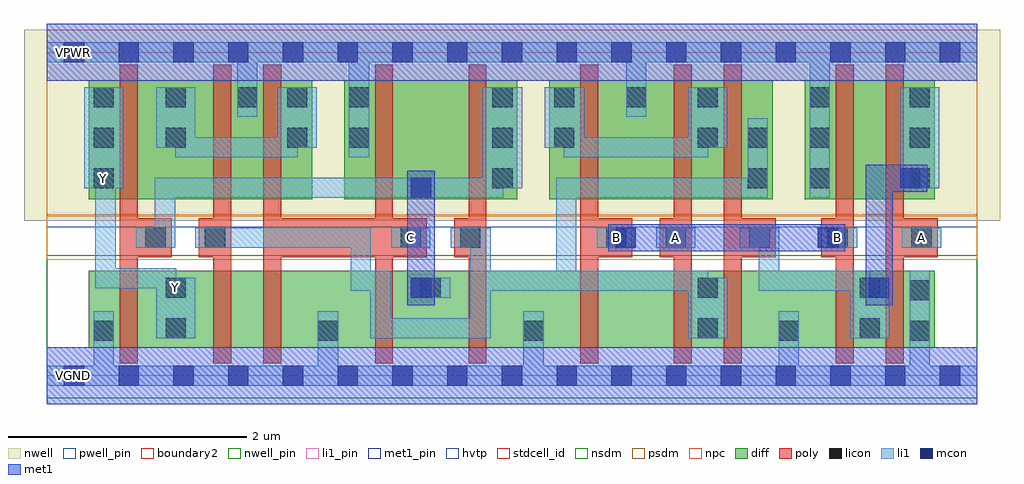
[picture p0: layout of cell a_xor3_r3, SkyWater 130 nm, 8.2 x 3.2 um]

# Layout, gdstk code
import gdstk
lib = gdstk.Library(unit=1e-6, precision=1e-09)
def R(c, l, rs):  # rectangles x0, y0, x1, y1
    for r in rs: c.add(gdstk.rectangle(r[:2], r[2:], *l))
def A(c, l, x, y, w, h, nx, ny, dx, dy):  # array of equal rectangles
    R(c, l, [(x+i*dx, y+j*dy, x+i*dx+w, y+j*dy+h) for i in range(nx) for j in range(ny)])
nwell_pin = (64, 16)
nwell = (64, 20)
diff = (65, 20)
poly = (66, 20)
licon = (66, 44)
li1_pin = (67, 16)
li1 = (67, 20)
mcon = (67, 44)
met1_pin = (68, 16)
met1 = (68, 20)
hvtp = (78, 44)
stdcell_id = (81, 4)
nsdm = (93, 44)
psdm = (94, 20)
npc = (95, 20)
pwell_pin = (122, 16)
boundary2 = (236, 0)

a_xor3_r3 = lib.new_cell('a_xor3_r3')
R(a_xor3_r3, nwell_pin, [(0.145,2.635,0.315,2.805)])
R(a_xor3_r3, nwell, [(-0.19,1.305,8.01,2.91)])
R(a_xor3_r3, diff, [(0.355,0.235,1.08,0.885), (1.08,0.235,1.685,0.885), (1.685,0.235,2.365,0.885), (2.365,0.235,3.23,0.885), (3.23,0.235,4.09,0.885), (4.09,0.235,4.955,0.885), (4.955,0.235,5.555,0.885), (5.555,0.235,6.235,0.885), (6.235,0.235,6.915,0.885), (6.915,0.235,7.46,0.885), (0.355,1.485,1.08,2.485), (1.08,1.485,1.685,2.485), (1.685,1.485,2.23,2.485), (2.5,1.485,3.23,2.485), (3.23,1.485,3.955,2.485), (4.225,1.485,4.955,2.485), (4.955,1.485,5.555,2.485), (5.555,1.485,6.1,2.485), (6.37,1.485,6.915,2.485), (6.915,1.485,7.46,2.485)])
R(a_xor3_r3, poly, [(0.615,0.105,0.765,2.615), (1.4,0.105,1.55,2.615), (1.82,0.105,1.97,2.615), (2.76,0.105,2.91,2.615), (3.545,0.105,3.695,2.615), (4.485,0.105,4.635,2.615), (5.27,0.105,5.42,2.615), (5.69,0.105,5.84,2.615), (6.63,0.105,6.78,2.615), (7.05,0.105,7.2,2.615), (0.615,0.995,1.05,1.325), (1.28,0.995,1.55,1.325), (1.82,0.995,2.91,1.325), (2.76,0.995,3.195,1.325), (3.425,0.995,3.695,1.325), (4.485,0.995,4.92,1.325), (5.15,0.995,5.42,1.325), (5.69,0.995,6.125,1.325), (6.51,0.995,6.78,1.325), (7.05,0.995,7.485,1.325)])
A(a_xor3_r3, licon, 0.395, 1.575, 0.17, 0.17, 1, 3, 0, 0.34)
A(a_xor3_r3, licon, 3.745, 1.575, 0.17, 0.17, 1, 3, 0, 0.34)
A(a_xor3_r3, licon, 6.41, 1.575, 0.17, 0.17, 1, 3, 0, 0.34)
A(a_xor3_r3, licon, 7.25, 1.575, 0.17, 0.17, 1, 3, 0, 0.34)
R(a_xor3_r3, licon, [(0.395,0.295,0.565,0.465), (2.28,0.295,2.45,0.465), (4.005,0.295,4.175,0.465), (6.15,0.295,6.32,0.465), (7.25,0.295,7.42,0.465), (1,0.315,1.17,0.485), (5.47,0.315,5.64,0.485), (6.83,0.315,7,0.485), (7.25,0.635,7.42,0.805), (1,0.655,1.17,0.825), (3.14,0.655,3.31,0.825), (5.47,0.655,5.64,0.825), (6.83,0.655,7,0.825), (0.83,1.075,1,1.245), (1.33,1.075,1.5,1.245), (2.975,1.075,3.145,1.245), (3.475,1.075,3.645,1.245), (4.7,1.075,4.87,1.245), (5.2,1.075,5.37,1.245), (5.905,1.075,6.075,1.245), (6.56,1.075,6.73,1.245), (7.265,1.075,7.435,1.245), (5.89,1.575,6.06,1.745), (1,1.915,1.17,2.085), (2.02,1.915,2.19,2.085), (2.54,1.915,2.71,2.085), (4.265,1.915,4.435,2.085), (5.47,1.915,5.64,2.085), (5.89,1.915,6.06,2.085), (1,2.255,1.17,2.425), (1.6,2.255,1.77,2.425), (2.02,2.255,2.19,2.425), (2.54,2.255,2.71,2.425), (4.265,2.255,4.435,2.425), (4.87,2.255,5.04,2.425), (5.47,2.255,5.64,2.425)])
R(a_xor3_r3, li1_pin, [(1,0.655,1.17,0.825), (2.975,1.075,3.145,1.245), (4.7,1.075,4.87,1.245), (5.2,1.075,5.37,1.245), (6.56,1.075,6.73,1.245), (7.265,1.075,7.435,1.245), (0.395,1.575,0.565,1.745)])
R(a_xor3_r3, li1, [(0,-0.085,7.82,0.085), (0.395,-0.085,0.565,0.545), (2.28,-0.085,2.45,0.545), (4.005,-0.085,4.175,0.545), (6.15,-0.085,6.32,0.545), (7.25,-0.085,7.42,0.545), (7.25,0.295,7.42,0.885), (0.92,0.315,1.25,0.825), (2.72,0.315,2.89,0.885), (2.72,0.315,3.73,0.485), (3.56,0.315,3.73,1.245), (5.39,0.315,5.72,0.825), (6.75,0.315,7.08,0.825), (0.92,0.655,1.25,0.825), (0.92,0.655,1.09,0.905), (3.06,0.655,3.39,0.825), (5.39,0.655,5.72,0.825), (5.39,0.655,5.56,0.885), (6.75,0.655,7.08,0.825), (6.75,0.655,6.92,0.885), (2.555,0.715,2.725,1.245), (2.555,0.715,2.89,0.885), (3.56,0.715,5.56,0.885), (4.28,0.715,4.45,1.665), (5.985,0.715,6.155,1.245), (5.985,0.715,6.92,0.885), (0.41,0.735,1.09,0.905), (0.41,0.735,0.58,1.745), (0.75,1.075,1.08,1.245), (0.91,1.075,1.08,1.665), (1.25,1.075,1.58,1.245), (1.41,1.075,2.725,1.245), (2.895,1.075,3.225,1.245), (3.395,1.075,3.725,1.245), (3.555,1.075,3.73,1.245), (4.62,1.075,4.95,1.245), (5.12,1.075,5.45,1.245), (5.825,1.075,6.155,1.245), (6.48,1.075,6.81,1.245), (7.185,1.075,7.515,1.245), (0.91,1.495,3.835,1.665), (3.665,1.495,3.835,1.745), (4.28,1.495,6.06,1.665), (5.89,1.495,6.06,1.825), (6.41,1.495,6.58,2.085), (0.315,1.575,0.645,1.745), (0.315,1.575,0.645,2.085), (3.665,1.575,3.995,1.745), (3.665,1.575,3.995,2.085), (5.89,1.575,6.06,2.165), (7.17,1.575,7.5,1.745), (7.17,1.575,7.5,2.085), (1.08,1.835,1.25,2.425), (1.08,1.835,2.11,2.005), (1.94,1.835,2.11,2.425), (2.54,1.835,2.71,2.425), (4.345,1.835,4.515,2.425), (4.345,1.835,5.56,2.005), (5.39,1.835,5.56,2.425), (6.41,1.835,6.58,2.425), (0.315,1.915,0.645,2.425), (0.92,1.915,1.25,2.425), (1.94,1.915,2.27,2.425), (3.665,1.915,3.995,2.425), (4.185,1.915,4.515,2.425), (5.39,1.915,5.72,2.425), (7.17,1.915,7.5,2.425), (6.41,2.085,6.58,2.175), (6.41,2.085,6.58,2.175), (6.41,2.085,6.58,2.175), (6.41,2.085,6.58,2.175), (1.6,2.175,1.77,2.805), (2.54,2.175,2.71,2.805), (4.87,2.175,5.04,2.805), (6.41,2.175,6.58,2.805), (0.92,2.255,1.25,2.425), (1.94,2.255,2.27,2.425), (4.185,2.255,4.515,2.425), (5.39,2.255,5.72,2.425), (0,2.635,7.82,2.805)])
A(a_xor3_r3, mcon, 0.145, -0.085, 0.17, 0.17, 17, 2, 0.46, 2.72)
R(a_xor3_r3, mcon, [(3.06,0.655,3.23,0.825), (6.91,0.655,7.08,0.825), (4.78,1.075,4.95,1.245), (6.48,1.075,6.65,1.245), (3.06,1.495,3.23,1.665), (7.17,1.575,7.34,1.745)])
R(a_xor3_r3, met1_pin, [(0.145,-0.085,0.315,0.085), (0.145,2.635,0.315,2.805)])
R(a_xor3_r3, met1, [(0,-0.24,7.82,0.24), (3.03,0.595,3.26,0.885), (6.88,0.595,7.11,0.885), (3.03,0.625,3.26,1.695), (6.88,0.625,7.11,1.775), (4.72,1.045,5.01,1.275), (4.75,1.045,6.68,1.275), (6.42,1.045,6.71,1.275), (3.03,1.435,3.26,1.725), (6.88,1.545,7.37,1.775), (7.11,1.545,7.4,1.775), (0,2.48,7.82,2.96)])
R(a_xor3_r3, hvtp, [(0,1.25,7.82,2.72)])
R(a_xor3_r3, stdcell_id, [(0,0,7.82,2.72)])
R(a_xor3_r3, nsdm, [(0,-0.19,7.82,1.015)])
R(a_xor3_r3, psdm, [(0,1.355,7.82,2.91)])
R(a_xor3_r3, npc, [(0,0.975,7.82,1.345)])
R(a_xor3_r3, pwell_pin, [(0.145,-0.085,0.315,0.085)])
R(a_xor3_r3, boundary2, [(0,0,7.82,2.72)])
a_xor3_r3.add(gdstk.Label('A', (5.285,1.16), layer=67, texttype=5))
a_xor3_r3.add(gdstk.Label('A', (7.35,1.16), layer=67, texttype=5))
a_xor3_r3.add(gdstk.Label('B', (4.785,1.16), layer=67, texttype=5))
a_xor3_r3.add(gdstk.Label('B', (6.645,1.16), layer=67, texttype=5))
a_xor3_r3.add(gdstk.Label('C', (3.06,1.16), layer=67, texttype=5))
a_xor3_r3.add(gdstk.Label('Y', (1.085,0.74), layer=67, texttype=5))
a_xor3_r3.add(gdstk.Label('Y', (0.48,1.66), layer=67, texttype=5))
a_xor3_r3.add(gdstk.Label('VGND', (0.23,0), layer=68, texttype=5))
a_xor3_r3.add(gdstk.Label('VPWR', (0.23,2.72), layer=68, texttype=5))
a_xor3_r3.add(gdstk.Label('VPB', (0.23,2.72), layer=64, texttype=5))
a_xor3_r3.add(gdstk.Label('VNB', (0.23,0), layer=64, texttype=59))

lib.write_gds('a_xor3_r3.gds')
